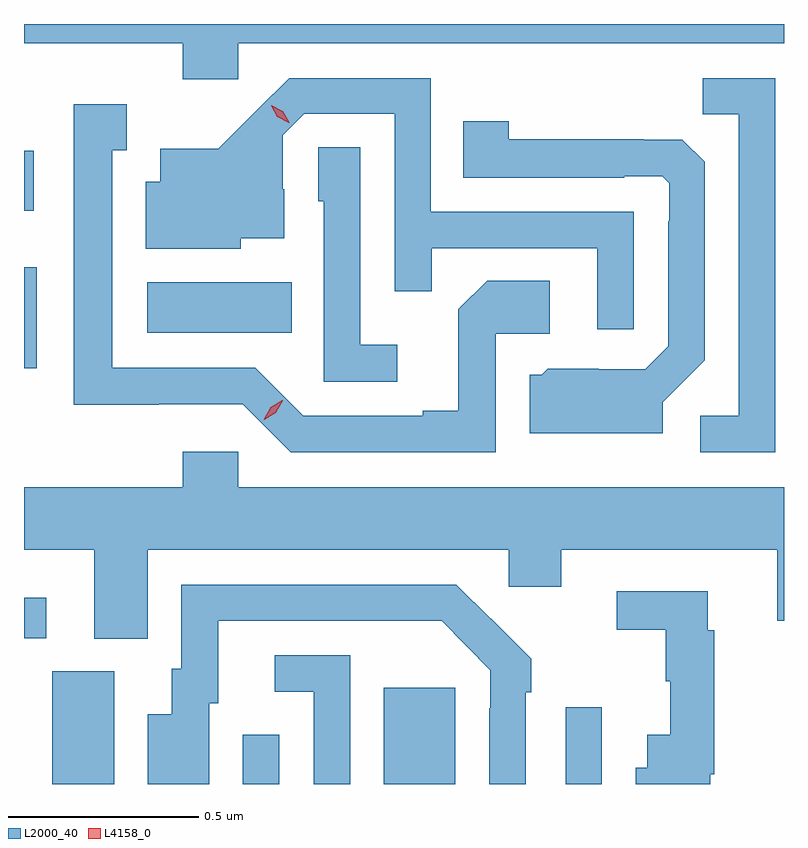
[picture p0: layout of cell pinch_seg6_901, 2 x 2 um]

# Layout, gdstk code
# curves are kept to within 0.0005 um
import gdstk
lib = gdstk.Library(unit=1e-6, precision=1e-09)
def R(c, l, rs):  # rectangles x0, y0, x1, y1
    for r in rs: c.add(gdstk.rectangle(r[:2], r[2:], *l))
def P(c, l, *ps):  # polygons
    for p in ps: c.add(gdstk.Polygon(p, *l))
L2000_40 = (2000, 40)
L4158_0 = (4158, 0)

pinch_seg6_901 = lib.new_cell('pinch_seg6_901')
R(pinch_seg6_901, L2000_40, [(139.124,989.343,139.288,989.64), (139.626,989.343,139.722,989.473), (139.997,989.343,140.185,989.596), (140.475,989.343,140.571,989.545), (139.05,989.727,139.108,989.833), (139.05,990.437,139.084,990.703), (139.374,990.53,139.754,990.664), (139.05,990.851,139.075,991.009)])
P(pinch_seg6_901, L2000_40, [(139.614,991.292),(141.05,991.292),(141.05,991.343),(139.05,991.343),(139.05,991.292),(139.468,991.292),(139.468,991.197),(139.614,991.197)],
  [(140.655,990.849),(140.121,990.849),(140.121,991.2),(139.748,991.2),(139.561,991.015),(139.409,991.015),(139.409,990.928),(139.37,990.928),(139.37,990.752),(139.62,990.752),(139.62,990.779),(139.735,990.779),(139.735,990.908),(139.731,990.908),(139.731,991.05),(139.788,991.107),(140.025,991.107),(140.025,990.64),(140.123,990.64),(140.123,990.753),(140.559,990.753),(140.559,990.54),(140.655,990.54)],
  [(141.027,991.2),(140.836,991.2),(140.836,991.105),(140.931,991.105),(140.931,990.312),(140.829,990.312),(140.829,990.216),(141.027,990.216)],
  [(140.292,990.528),(140.434,990.528),(140.434,990.668),(140.269,990.668),(140.193,990.592),(140.193,990.325),(140.099,990.325),(140.099,990.312),(139.785,990.312),(139.659,990.438),(139.282,990.438),(139.282,991.011),(139.321,991.011),(139.321,991.132),(139.181,991.132),(139.181,990.341),(139.404,990.341),(139.404,990.342),(139.626,990.342),(139.752,990.216),(140.292,990.216)],
  [(140.731,990.348),(140.841,990.458),(140.841,990.98),(140.782,991.039),(140.681,991.039),(140.681,991.04),(140.325,991.04),(140.325,991.087),(140.206,991.087),(140.206,990.939),(140.63,990.939),(140.63,990.942),(140.73,990.942),(140.748,990.924),(140.748,990.824),(140.745,990.824),(140.745,990.495),(140.685,990.435),(140.562,990.435),(140.562,990.436),(140.428,990.436),(140.412,990.42),(140.381,990.42),(140.381,990.266),(140.731,990.266)],
  [(140.032,990.499),(139.935,990.499),(139.935,991.019),(139.824,991.019),(139.824,990.876),(139.839,990.876),(139.839,990.402),(140.032,990.402)],
  [(139.375,989.96),(140.325,989.96),(140.325,989.862),(140.464,989.862),(140.464,989.96),(141.032,989.96),(141.032,989.772),(141.05,989.772),(141.05,990.124),(139.614,990.124),(139.614,990.217),(139.468,990.217),(139.468,990.124),(139.05,990.124),(139.05,989.96),(139.235,989.96),(139.235,989.725),(139.375,989.725)],
  [(139.537,989.556),(139.561,989.556),(139.561,989.772),(140.149,989.772),(140.277,989.643),(140.277,989.543),(140.274,989.543),(140.274,989.343),(140.37,989.343),(140.37,989.585),(140.385,989.585),(140.385,989.673),(140.28,989.778),(140.279,989.777),(140.188,989.868),(139.464,989.868),(139.464,989.646),(139.439,989.646),(139.439,989.527),(139.376,989.527),(139.376,989.343),(139.537,989.343)],
  [(140.856,989.369),(140.867,989.369),(140.867,989.747),(140.849,989.747),(140.849,989.85),(140.61,989.85),(140.61,989.749),(140.739,989.749),(140.739,989.613),(140.75,989.613),(140.75,989.473),(140.69,989.473),(140.69,989.386),(140.66,989.386),(140.66,989.343),(140.856,989.343)],
  [(139.908,989.682),(139.71,989.682),(139.71,989.586),(139.812,989.586),(139.812,989.343),(139.908,989.343)])
P(pinch_seg6_901, L4158_0, [(139.747,991.083),(139.717,991.099),(139.7,991.128),(139.7,991.129),(139.7,991.129),(139.731,991.113),(139.748,991.084),(139.748,991.083)],
  [(139.681,990.301),(139.681,990.301),(139.699,990.334),(139.73,990.353),(139.731,990.353),(139.731,990.352),(139.713,990.32),(139.682,990.301)])

lib.write_gds('pinch_seg6_901.gds')
